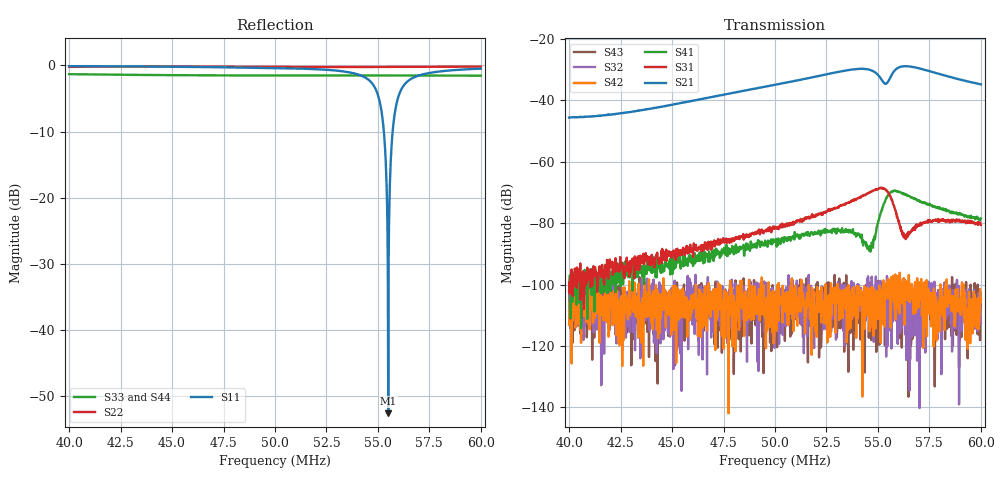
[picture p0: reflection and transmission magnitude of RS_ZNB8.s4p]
#  HZ  S  RI  R  50.00
! Rohde & Schwarz Vector Network Analyzer
! Rohde-Schwarz,ZNB8-4Port,1311601044102961,2.82
! Created: UTC 6/29/2017, 11:43:21 PM
! freq[Hz]  re:S11  im:S11  re:S12  im:S12  re:S13  im:S13  re:S14  im:S14
!  re:S21  im:S21  re:S22  im:S22  re:S23  im:S23  re:S24  im:S24
!  re:S31  im:S31  re:S32  im:S32  re:S33  im:S33  re:S34  im:S34
!  re:S41  im:S41  re:S42  im:S42  re:S43  im:S43  re:S44  im:S44
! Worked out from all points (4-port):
!   1001 points, 40 MHz to 60 MHz, reference 50 ohm
!   strongest paths, dB at 40 MHz, 45 MHz, 50 MHz, 55 MHz, 60 MHz:
!     S21: -45.6, -41.4, -34.9, -31.7, -34.8
!     S31: -99.4, -89.5, -81.6, -68.9, -80.6
!     S41: -102.0, -91.2, -85.6, -80.0, -78.5
!     S42: -108.5, -106.5, -104.3, -111.2, -104.8
!     S32: -102.1, -107.4, -112.9, -105.5, -112.6
!     S43: -112.9, -113.8, -103.4, -111.1, -105.5
!   lowest |S11| = -52.6 dB at 55.5 MHz (marker M1), VSWR 1.00, Z = 50 - j0.231 ohm
!   |S11| at or under -10 dB: 55.29 MHz to 55.71 MHz (427.1 kHz wide, 0.77 % of centre)
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4e7  0.8126 -0.5576  -0.000748 0.00532  -1.63e-05 -3.02e-06  -9.1e-06 3.05e-06
     -0.000735 0.0052  0.7916 0.5668  2.66e-06 1.26e-06  1.26e-06 -4.39e-07
     -9.75e-06 4.46e-06  5.74e-06 5.34e-06  -0.7283 -0.4531  -7.2e-06 5.67e-07
     -7.84e-06 -1.14e-06  -2.81e-06 -2.46e-06  -2.09e-06 -8.51e-07  -0.7282 -0.4511
4.692e7  -0.9675 -0.0688  0.00903 -0.00699  1.48e-05 3.72e-05  1.66e-05 3.04e-05
         0.00897 -0.00691  -0.0724 -0.9756  9.18e-07 1.47e-06  4.1e-07 -4.02e-06
         1.67e-05 3.85e-05  1.23e-06 -3.83e-06  -0.464 0.7009  2.85e-06 5.51e-06
         1.13e-05 2.81e-05  3.47e-06 5.67e-06  4.07e-06 2.14e-06  -0.4611 0.6995
5.02e7  -0.1013 0.9487  -0.00775 -0.017  8.78e-05 -1.28e-06  4.74e-05 -1.63e-06
        -0.0078 -0.0168  -0.9185 -0.3227  4.02e-06 6.8e-06  4.21e-06 -3.46e-06
        8.63e-05 -6.09e-07  -1.07e-06 -1.46e-07  0.0901 0.8341  -4.3e-07 -4.96e-07
        5.43e-05 -2.59e-06  -1.11e-06 5.09e-06  5.82e-07 5.23e-06  0.0906 0.8305
5.27e7  0.9009 0.1954  -0.0277 0.000806  8.21e-05 -0.000142  3.44e-05 -6.72e-05
        -0.0274 0.000834  -0.8351 0.4971  -2.26e-06 -3.03e-06  2.66e-06 1.54e-06
        8.15e-05 -0.000139  -7.94e-06 -2.1e-06  0.4896 0.6818  -1.19e-06 3.1e-07
        3.92e-05 -6.3e-05  -5.99e-06 3.25e-06  4.68e-06 -5.92e-06  0.4876 0.6787
5.55e7  0.000389 -0.00231  -0.00609 0.0197  -0.000263 0.000166  0.000102 -0.000271
        -0.00601 0.0195  -0.1472 0.9624  3.38e-06 -8.45e-06  -3.45e-06 8.6e-06
        -0.000269 0.000169  4.59e-06 -3.71e-06  0.7814 0.3078  -2.9e-06 1.07e-06
        0.000102 -0.000267  2.28e-06 1.21e-05  1.79e-06 -5.9e-06  0.778 0.3075
5.7e7  -0.8145 0.2046  0.0248 0.0226  -9.07e-05 2.26e-05  -0.000226 1.25e-06
       0.0246 0.0223  0.2598 0.9397  1.09e-05 -6.66e-06  -5.51e-06 2.7e-06
       -9.12e-05 2.4e-05  2.98e-06 -3.09e-06  0.8374 0.056  7.92e-06 -6.41e-07
       -0.000236 -5.65e-06  5.44e-06 7.97e-06  1.38e-06 2.46e-06  0.8344 0.057
6e7  0.5301 0.7819  0.0151 -0.0105  -2.16e-05 9.05e-05  -2.02e-05 0.000114
     0.0149 -0.0105  0.8394 0.5038  4.13e-06 2.17e-06  2.73e-07 -3.08e-06
     -1.7e-05 9.18e-05  2.3e-06 4.43e-07  0.707 -0.4453  -1.85e-06 -3.68e-06
     -2.91e-05 0.000115  4.63e-06 3.37e-06  5.28e-06 7.12e-07  0.7054 -0.4432
